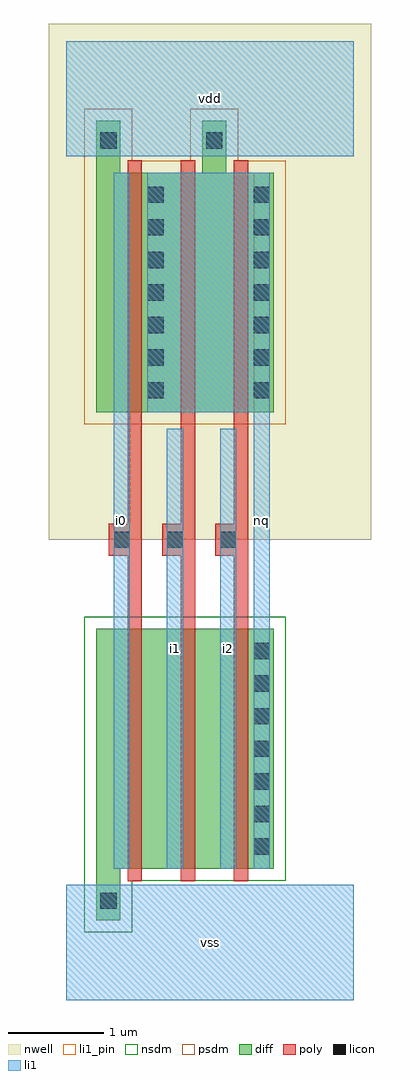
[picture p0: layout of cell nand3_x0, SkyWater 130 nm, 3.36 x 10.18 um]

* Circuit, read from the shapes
.subckt nand3_x0 i0 i1 i2 nq vdd vss
XM1 n1 i0 vss VSUBS sky130_fd_pr__nfet_01v8 w=2.5 l=0.15
XM2 n2 i1 n1 VSUBS sky130_fd_pr__nfet_01v8 w=2.5 l=0.15
XM3 nq i2 n2 VSUBS sky130_fd_pr__nfet_01v8 w=2.5 l=0.15
XM4 nq i0 vdd n3 sky130_fd_pr__pfet_01v8 w=2.5 l=0.15
XM5 vdd i1 nq n3 sky130_fd_pr__pfet_01v8 w=2.5 l=0.15
XM6 nq i2 vdd n3 sky130_fd_pr__pfet_01v8 w=2.5 l=0.15
.ends

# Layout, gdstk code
import gdstk
lib = gdstk.Library(unit=1e-6, precision=1e-09)
def R(c, l, rs):  # rectangles x0, y0, x1, y1
    for r in rs: c.add(gdstk.rectangle(r[:2], r[2:], *l))
def A(c, l, x, y, w, h, nx, ny, dx, dy):  # array of equal rectangles
    R(c, l, [(x+i*dx, y+j*dy, x+i*dx+w, y+j*dy+h) for i in range(nx) for j in range(ny)])
def P(c, l, *ps):  # polygons
    for p in ps: c.add(gdstk.Polygon(p, *l))
nwell = (64, 20)
diff = (65, 20)
poly = (66, 20)
licon = (66, 44)
li1_pin = (67, 16)
li1 = (67, 20)
nsdm = (93, 44)
psdm = (94, 20)

nand3_x0 = lib.new_cell('nand3_x0')
R(nand3_x0, nwell, [(-0.18,4.8,3.18,10.18)])
P(nand3_x0, diff, [(0.315,0.83),(0.315,3.87),(2.165,3.87),(2.165,1.37),(0.565,1.37),(0.565,0.83)],
  [(0.315,6.13),(0.315,9.17),(0.565,9.17),(0.565,8.63),(1.42,8.63),(1.42,9.17),(1.67,9.17),(1.67,8.63),(2.165,8.63),(2.165,6.13)])
P(nand3_x0, poly, [(0.64,1.24),(0.64,4.635),(0.445,4.635),(0.445,4.965),(0.64,4.965),(0.64,8.76),(0.79,8.76),(0.79,1.24)],
  [(1.195,1.24),(1.195,4.635),(1,4.635),(1,4.965),(1.195,4.965),(1.195,8.76),(1.345,8.76),(1.345,1.24)],
  [(1.75,1.24),(1.75,4.635),(1.555,4.635),(1.555,4.965),(1.75,4.965),(1.75,8.76),(1.9,8.76),(1.9,1.24)])
A(nand3_x0, licon, 1.955, 1.515, 0.17, 0.17, 1, 7, 0, 0.34)
A(nand3_x0, licon, 0.495, 4.715, 0.17, 0.17, 3, 1, 0.555, 0)
A(nand3_x0, licon, 0.845, 6.275, 0.17, 0.17, 1, 7, 0, 0.34)
A(nand3_x0, licon, 1.955, 6.275, 0.17, 0.17, 1, 7, 0, 0.34)
R(nand3_x0, licon, [(0.355,0.95,0.525,1.12), (0.355,8.88,0.525,9.05), (1.46,8.88,1.63,9.05)])
R(nand3_x0, li1_pin, [(0,0,3,1.2), (0.495,1.37,0.665,8.63), (1.05,1.37,1.22,5.96), (1.605,1.37,1.775,5.96), (1.955,1.37,2.125,8.63), (0,8.8,3,10)])
R(nand3_x0, li1, [(0,0,3,1.2), (0.495,1.37,0.665,8.63), (1.05,1.37,1.22,5.96), (1.605,1.37,1.775,5.96), (0,8.8,3,10)])
P(nand3_x0, li1, [(1.955,1.37),(1.955,6.13),(0.845,6.13),(0.845,8.63),(2.125,8.63),(2.125,1.37)])
P(nand3_x0, nsdm, [(0.19,0.705),(0.19,3.995),(2.29,3.995),(2.29,1.245),(0.69,1.245),(0.69,0.705)])
P(nand3_x0, psdm, [(0.19,6.005),(0.19,9.295),(0.69,9.295),(0.69,8.755),(1.295,8.755),(1.295,9.295),(1.795,9.295),(1.795,8.755),(2.29,8.755),(2.29,6.005)])
nand3_x0.add(gdstk.Label('vss', (1.5,0.6), layer=67, texttype=16))
nand3_x0.add(gdstk.Label('vdd', (1.5,9.4), layer=67, texttype=16))
nand3_x0.add(gdstk.Label('i0', (0.58,5), layer=67, texttype=16))
nand3_x0.add(gdstk.Label('nq', (2.04,5), layer=67, texttype=16))
nand3_x0.add(gdstk.Label('i1', (1.135,3.665), layer=67, texttype=16))
nand3_x0.add(gdstk.Label('i2', (1.69,3.665), layer=67, texttype=16))
nand3_x0.add(gdstk.Label('vss', (1.5,0.6), layer=67, texttype=16))
nand3_x0.add(gdstk.Label('vdd', (1.5,9.4), layer=67, texttype=16))
nand3_x0.add(gdstk.Label('i0', (0.58,5), layer=67, texttype=16))
nand3_x0.add(gdstk.Label('nq', (2.04,5), layer=67, texttype=16))
nand3_x0.add(gdstk.Label('i1', (1.135,3.665), layer=67, texttype=16))
nand3_x0.add(gdstk.Label('i2', (1.69,3.665), layer=67, texttype=16))

lib.write_gds('nand3_x0.gds')
